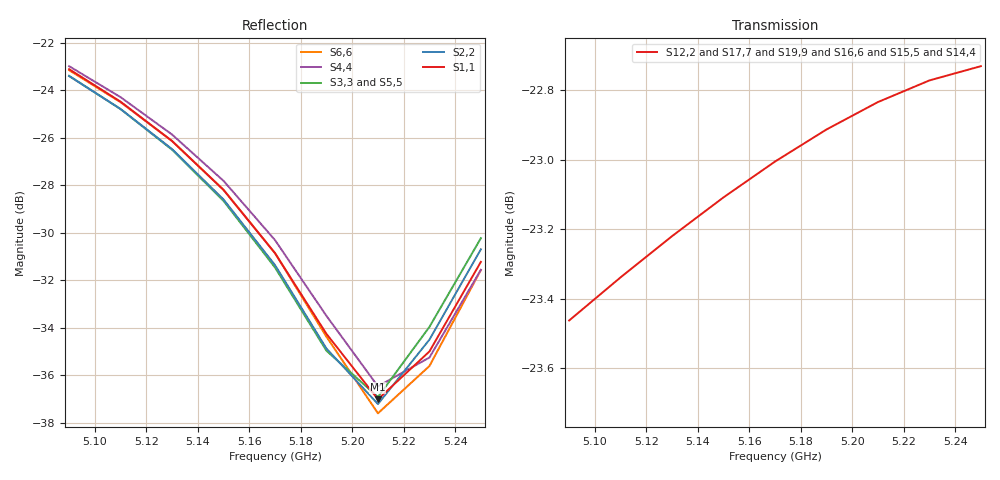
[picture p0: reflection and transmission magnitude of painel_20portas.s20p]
! Touchstone file exported from HFSS 2024.2.0
!  File:  D:/dev/EMBRAER/P1H/Painel_10X/P1H_10X_FEM.aedt
!  Generated:  01:46:14 PM Nov  6, 2026
!  Design:  Synth_DipoleArray
!  Project:  P1H_10X_FEM
!  Setup:  Setup_Multiband
!  Solution:  Banda_20MHz
! Variables:
!  E001_element_z = 16.61mm
!  array_P1H_band_start = 5090MHz
!  array_P1H_band_stop = 5250MHz
!  array_P1H_element_z = 16.61mm
!  array_P1H_geometry_revision = 1
!  array_P1H_pcb_thickness = 0.76mm
!  array_P1H_polarization_scale_A = 1.0124
!  array_P1H_polarization_scale_B = 1.0007
!  array_P1H_reference_frequency = 5170MHz
!  array_P1H_reflector_spacing = 16.61mm
!  array_P1H_ring_opening_scale = 1
!  array_P1H_xy_scale = 0.755
!  array_element_plane_z = 16.61mm
!  array_has_B1 = 0
!  array_has_P1 = 0
!  array_has_P1H = 1
!  array_has_R1 = 0
!  array_has_Y1 = 0
!  array_model_count = 1
!  array_pcb_thickness = 0.76mm
!  array_reflector_height = 36mm
!  array_reflector_spacing = 16.61mm
!  array_reflector_width = 48.3125mm
!  array_reflector_z = 0mm
! Terminal data exported
! Port[1] = E016_PA
! Port[2] = E016_PA1
! Port[3] = E016_PA2
! Port[4] = E016_PA3
! Port[5] = E016_PA4
! Port[6] = E016_PA5
! Port[7] = E016_PA6
! Port[8] = E016_PA7
! Port[9] = E016_PA8
! Port[10] = E016_PA9
! Port[11] = E016_PB
! Port[12] = E016_PB1
! Port[13] = E016_PB2
! Port[14] = E016_PB3
! Port[15] = E016_PB4
! Port[16] = E016_PB5
! Port[17] = E016_PB6
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# GHz S RI R 50.000000
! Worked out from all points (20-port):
!   9 points, 5.09 GHz to 5.25 GHz, reference 50 ohm
!   strongest paths, dB at 5.09 GHz, 5.13 GHz, 5.17 GHz, 5.21 GHz, 5.25 GHz:
!     S12,2: -23.5, -23.2, -23.0, -22.8, -22.7
!     S17,7: -23.5, -23.2, -23.0, -22.9, -22.7
!     S19,9: -23.5, -23.3, -23.1, -22.9, -22.7
!     S16,6: -23.6, -23.4, -23.2, -23.0, -22.9
!     S15,5: -23.6, -23.4, -23.2, -23.0, -23.0
!     S14,4: -23.7, -23.4, -23.2, -23.0, -22.9
!   lowest |S11| = -37.0 dB at 5.21 GHz (marker M1), VSWR 1.03, Z = 49 + j0.994 ohm
!   |S11| at or under -10 dB: start of sweep to end of sweep
